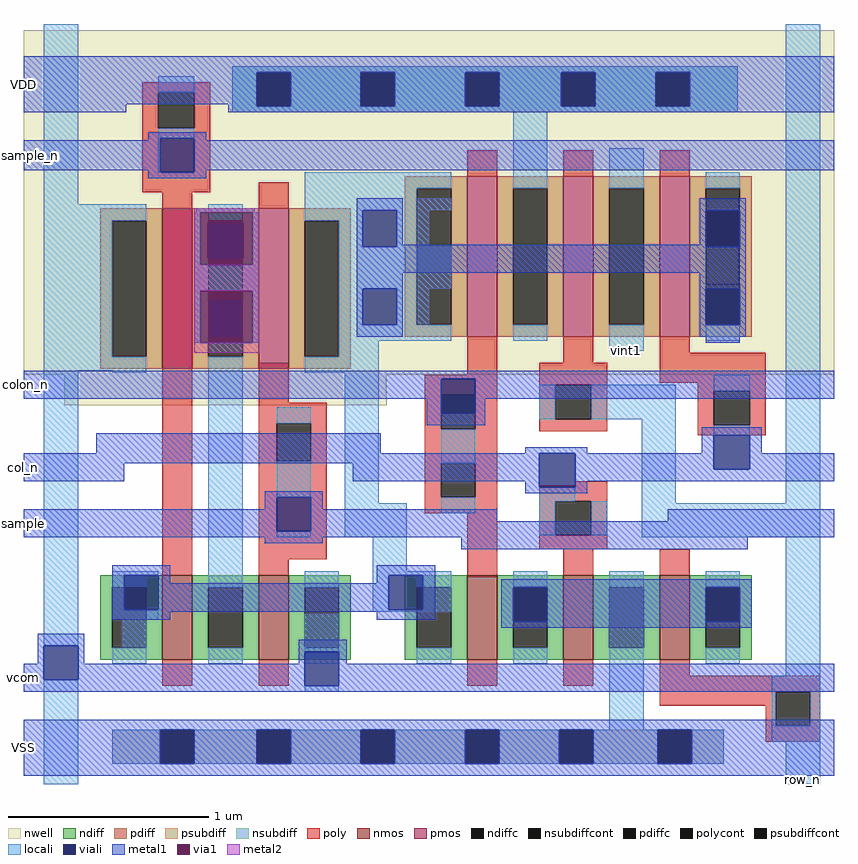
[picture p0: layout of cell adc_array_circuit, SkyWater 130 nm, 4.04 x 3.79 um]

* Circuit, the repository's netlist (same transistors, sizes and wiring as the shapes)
* NGSPICE file created from adc_array_circuit.ext - technology: sky130A

.subckt sky130_fd_pr__nfet_01v8_J7MSU8 a_n111_n68# a_n81_n42# a_15_n42# a_n15_n68#
+ a_n173_n42# a_81_n68# a_111_n42# VSUBS
X0 a_15_n42# a_n15_n68# a_n81_n42# VSUBS sky130_fd_pr__nfet_01v8 ad=1.386e+11p pd=1.5e+06u as=1.386e+11p ps=1.5e+06u w=420000u l=150000u
X1 a_111_n42# a_81_n68# a_15_n42# VSUBS sky130_fd_pr__nfet_01v8 ad=1.302e+11p pd=1.46e+06u as=0p ps=0u w=420000u l=150000u
X2 a_n81_n42# a_n111_n68# a_n173_n42# VSUBS sky130_fd_pr__nfet_01v8 ad=0p pd=0u as=1.302e+11p ps=1.46e+06u w=420000u l=150000u
.ends

.subckt sky130_fd_pr__nfet_01v8_MJPTSJ a_63_n42# a_n125_n42# a_n63_n68# a_33_n68#
+ a_n33_n42# VSUBS
X0 a_63_n42# a_33_n68# a_n33_n42# VSUBS sky130_fd_pr__nfet_01v8 ad=1.302e+11p pd=1.46e+06u as=1.386e+11p ps=1.5e+06u w=420000u l=150000u
X1 a_n33_n42# a_n63_n68# a_n125_n42# VSUBS sky130_fd_pr__nfet_01v8 ad=0p pd=0u as=1.302e+11p ps=1.46e+06u w=420000u l=150000u
.ends

.subckt sky130_fd_pr__pfet_01v8_5CE3MA a_111_n80# a_81_n106# a_n15_n106# a_n111_n106#
+ a_n81_n80# a_15_n80# w_n209_n116# a_n173_n80#
X0 a_n81_n80# a_n111_n106# a_n173_n80# w_n209_n116# sky130_fd_pr__pfet_01v8 ad=2.64e+11p pd=2.26e+06u as=2.48e+11p ps=2.22e+06u w=800000u l=150000u
X1 a_111_n80# a_81_n106# a_15_n80# w_n209_n116# sky130_fd_pr__pfet_01v8 ad=2.48e+11p pd=2.22e+06u as=2.64e+11p ps=2.26e+06u w=800000u l=150000u
X2 a_15_n80# a_n15_n106# a_n81_n80# w_n209_n116# sky130_fd_pr__pfet_01v8 ad=0p pd=0u as=0p ps=0u w=800000u l=150000u
.ends

.subckt sky130_fd_pr__pfet_01v8_5CSGFE w_n161_n116# a_33_n106# a_63_n80# a_n125_n80#
+ a_n63_n106# a_n33_n80#
X0 a_n33_n80# a_n63_n106# a_n125_n80# w_n161_n116# sky130_fd_pr__pfet_01v8 ad=2.64e+11p pd=2.26e+06u as=2.48e+11p ps=2.22e+06u w=800000u l=150000u
X1 a_63_n80# a_33_n106# a_n33_n80# w_n161_n116# sky130_fd_pr__pfet_01v8 ad=2.48e+11p pd=2.22e+06u as=0p ps=0u w=800000u l=150000u
.ends

.subckt adc_array_circuit
Xsky130_fd_pr__nfet_01v8_J7MSU8_0 colon_n li_722_732# VSS col_n li_322_734# row_n
+ li_722_732# VSS sky130_fd_pr__nfet_01v8_J7MSU8
Xsky130_fd_pr__nfet_01v8_MJPTSJ_0 vcom li_322_734# sample_n sample li_418_782# VSS
+ sky130_fd_pr__nfet_01v8_MJPTSJ
Xsky130_fd_pr__pfet_01v8_5CE3MA_0 li_322_734# col_n row_n colon_n VDD vint1 VDD li_322_734#
+ sky130_fd_pr__pfet_01v8_5CE3MA
Xsky130_fd_pr__pfet_01v8_5CSGFE_0 VDD sample li_322_734# vcom sample_n li_418_782#
+ sky130_fd_pr__pfet_01v8_5CSGFE
.ends

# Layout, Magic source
magic
tech sky130A
magscale 1 2
<< nwell >>
rect 234 1182 1042 1322
rect 234 1152 742 1182
rect 818 1174 852 1182
rect 234 1144 404 1152
rect 464 1144 742 1152
rect 234 1130 742 1144
rect 234 1094 418 1130
rect 452 1094 742 1130
rect 234 984 742 1094
rect 908 1068 954 1154
rect 964 984 1042 1182
rect 234 978 1042 984
rect 468 950 532 978
<< pdiff >>
rect 406 1130 464 1144
rect 406 1094 418 1130
rect 452 1094 464 1130
rect 406 1010 464 1094
rect 908 1068 954 1154
<< psubdiff >>
rect 322 590 370 624
rect 404 590 466 624
rect 500 590 570 624
rect 604 590 674 624
rect 708 590 768 624
rect 802 590 866 624
rect 900 590 932 624
<< nsubdiff >>
rect 442 1280 946 1286
rect 442 1246 466 1280
rect 500 1246 570 1280
rect 604 1246 674 1280
rect 708 1246 770 1280
rect 804 1246 864 1280
rect 898 1246 946 1280
rect 442 1240 946 1246
<< psubdiffcont >>
rect 370 590 404 624
rect 466 590 500 624
rect 570 590 604 624
rect 674 590 708 624
rect 768 590 802 624
rect 866 590 900 624
<< nsubdiffcont >>
rect 466 1246 500 1280
rect 570 1246 604 1280
rect 674 1246 708 1280
rect 770 1246 804 1280
rect 864 1246 898 1280
<< poly >>
rect 352 1260 420 1270
rect 352 1224 368 1260
rect 404 1224 420 1260
rect 352 1160 420 1224
rect 372 804 402 1160
rect 868 1000 898 1004
rect 468 950 498 990
rect 676 978 706 998
rect 634 958 706 978
rect 468 930 536 950
rect 468 892 486 930
rect 520 892 536 930
rect 468 794 536 892
rect 634 924 650 958
rect 684 924 706 958
rect 634 890 706 924
rect 748 968 816 990
rect 868 970 974 1000
rect 748 934 764 968
rect 800 934 816 968
rect 748 922 816 934
rect 906 962 974 970
rect 906 928 922 962
rect 958 928 974 962
rect 906 918 974 928
rect 634 856 650 890
rect 684 856 706 890
rect 784 868 816 872
rect 634 840 706 856
rect 676 776 706 840
rect 748 852 816 868
rect 748 818 764 852
rect 800 818 816 852
rect 748 804 816 818
rect 868 662 1028 678
rect 868 648 984 662
rect 974 628 984 648
rect 1018 628 1028 662
rect 974 612 1028 628
<< polycont >>
rect 368 1224 404 1260
rect 486 892 520 930
rect 650 924 684 958
rect 764 934 800 968
rect 922 928 958 962
rect 650 856 684 890
rect 764 818 800 852
rect 984 628 1018 662
<< locali >>
rect 254 1148 288 1328
rect 442 1280 946 1286
rect 368 1260 404 1276
rect 442 1246 466 1280
rect 500 1246 570 1280
rect 604 1246 674 1280
rect 708 1246 770 1280
rect 804 1246 864 1280
rect 898 1246 946 1280
rect 442 1240 946 1246
rect 368 1214 404 1224
rect 368 1180 370 1214
rect 514 1154 626 1180
rect 722 1164 756 1240
rect 818 1174 852 1204
rect 514 1148 660 1154
rect 254 982 322 1148
rect 548 1142 660 1148
rect 548 1106 572 1142
rect 606 1106 638 1142
rect 548 1064 660 1106
rect 548 1028 572 1064
rect 606 1028 638 1064
rect 548 1012 660 1028
rect 254 708 288 982
rect 418 782 452 994
rect 548 980 588 1012
rect 818 1002 852 1026
rect 486 930 520 946
rect 486 856 520 892
rect 486 816 520 822
rect 554 850 588 980
rect 748 934 764 968
rect 800 934 884 968
rect 650 890 684 924
rect 554 816 616 850
rect 650 840 684 856
rect 748 852 784 866
rect 748 818 764 852
rect 800 818 816 852
rect 850 850 884 934
rect 922 962 958 978
rect 922 918 958 928
rect 994 850 1028 1328
rect 850 816 1028 850
rect 582 782 616 816
rect 322 778 368 782
rect 322 744 334 778
rect 322 734 368 744
rect 582 778 660 782
rect 582 744 598 778
rect 632 744 660 778
rect 582 742 660 744
rect 722 766 756 782
rect 332 690 356 734
rect 514 702 548 740
rect 254 570 288 674
rect 514 662 548 668
rect 818 624 852 782
rect 914 766 948 782
rect 994 678 1028 816
rect 980 662 1028 678
rect 980 628 984 662
rect 1018 628 1028 662
rect 322 590 370 624
rect 404 590 466 624
rect 500 590 570 624
rect 604 590 674 624
rect 708 590 768 624
rect 802 590 866 624
rect 900 590 932 624
rect 980 612 1028 628
rect 994 570 1028 612
<< viali >>
rect 466 1246 500 1280
rect 570 1246 604 1280
rect 674 1246 708 1280
rect 770 1246 804 1280
rect 864 1246 898 1280
rect 370 1180 404 1214
rect 418 1094 452 1130
rect 572 1106 606 1142
rect 914 1106 948 1142
rect 418 1016 452 1052
rect 572 1028 606 1064
rect 914 1028 948 1064
rect 486 822 520 856
rect 650 958 684 974
rect 650 940 684 958
rect 748 866 784 900
rect 922 884 958 918
rect 334 744 368 778
rect 598 744 632 778
rect 254 674 288 708
rect 722 732 756 766
rect 514 668 548 702
rect 914 732 948 766
rect 370 590 404 624
rect 466 590 500 624
rect 570 590 604 624
rect 674 590 708 624
rect 768 590 802 624
rect 866 590 900 624
<< metal1 >>
rect 234 1280 1042 1296
rect 234 1248 466 1280
rect 234 1240 336 1248
rect 438 1246 466 1248
rect 500 1246 570 1280
rect 604 1246 674 1280
rect 708 1246 770 1280
rect 804 1246 864 1280
rect 898 1246 1042 1280
rect 438 1240 1042 1246
rect 358 1214 416 1220
rect 358 1212 370 1214
rect 234 1182 370 1212
rect 358 1180 370 1182
rect 404 1212 416 1214
rect 404 1182 1042 1212
rect 404 1180 416 1182
rect 358 1174 416 1180
rect 406 1140 464 1144
rect 566 1142 612 1154
rect 404 1088 410 1140
rect 462 1088 468 1140
rect 404 1062 468 1088
rect 404 1010 410 1062
rect 462 1010 468 1062
rect 566 1106 572 1142
rect 606 1108 612 1142
rect 908 1142 954 1154
rect 908 1108 914 1142
rect 606 1106 914 1108
rect 948 1106 954 1142
rect 566 1080 954 1106
rect 566 1064 612 1080
rect 566 1028 572 1064
rect 606 1028 612 1064
rect 566 1016 612 1028
rect 908 1064 954 1080
rect 908 1028 914 1064
rect 948 1028 954 1064
rect 908 1016 954 1028
rect 914 1010 948 1016
rect 234 974 1042 982
rect 234 954 650 974
rect 636 940 650 954
rect 684 954 1042 974
rect 684 940 694 954
rect 636 928 694 940
rect 306 900 590 920
rect 910 918 970 926
rect 734 900 796 906
rect 910 900 922 918
rect 234 890 748 900
rect 234 872 334 890
rect 562 872 748 890
rect 734 866 748 872
rect 784 884 922 900
rect 958 900 970 918
rect 958 884 1042 900
rect 784 872 1042 884
rect 784 866 796 872
rect 474 856 532 862
rect 734 860 796 866
rect 474 844 486 856
rect 234 822 486 844
rect 520 844 532 856
rect 520 832 706 844
rect 876 832 1042 844
rect 520 822 1042 832
rect 234 816 1042 822
rect 474 810 532 816
rect 670 804 956 816
rect 322 778 380 788
rect 322 744 334 778
rect 368 770 380 778
rect 586 778 644 788
rect 586 770 598 778
rect 368 744 598 770
rect 632 744 644 778
rect 322 742 644 744
rect 322 734 380 742
rect 586 734 644 742
rect 710 766 960 774
rect 710 732 722 766
rect 756 732 914 766
rect 948 732 960 766
rect 710 726 960 732
rect 248 708 294 720
rect 248 690 254 708
rect 234 674 254 690
rect 288 690 294 708
rect 508 702 556 714
rect 508 690 514 702
rect 288 674 514 690
rect 234 668 514 674
rect 548 690 556 702
rect 548 668 1042 690
rect 234 662 1042 668
rect 234 624 1042 634
rect 234 590 370 624
rect 404 590 466 624
rect 500 590 570 624
rect 604 590 674 624
rect 708 590 768 624
rect 802 590 866 624
rect 900 590 1042 624
rect 234 578 1042 590
<< via1 >>
rect 410 1130 462 1140
rect 410 1094 418 1130
rect 418 1094 452 1130
rect 452 1094 462 1130
rect 410 1088 462 1094
rect 410 1052 462 1062
rect 410 1016 418 1052
rect 418 1016 452 1052
rect 452 1016 462 1052
rect 410 1010 462 1016
<< metal2 >>
rect 404 1140 468 1144
rect 404 1088 410 1140
rect 462 1088 468 1140
rect 404 1062 468 1088
rect 404 1010 410 1062
rect 462 1010 468 1062
rect 404 1000 468 1010
use sky130_fd_pr__nfet_01v8_J7MSU8  sky130_fd_pr__nfet_01v8_J7MSU8_0
transform 1 0 787 0 1 736
box -173 -68 173 68
use sky130_fd_pr__nfet_01v8_MJPTSJ  sky130_fd_pr__nfet_01v8_MJPTSJ_0
transform 1 0 435 0 1 736
box -125 -68 125 68
use sky130_fd_pr__pfet_01v8_5CE3MA  sky130_fd_pr__pfet_01v8_5CE3MA_0
transform 1 0 787 0 1 1096
box -209 -116 209 116
use sky130_fd_pr__pfet_01v8_5CSGFE  sky130_fd_pr__pfet_01v8_5CSGFE_0
transform 1 0 435 0 1 1064
box -161 -116 161 116
<< labels >>
rlabel metal1 234 872 234 900 7 col_n
rlabel metal1 234 954 234 982 7 colon_n
rlabel metal1 234 662 234 690 7 vcom
rlabel metal1 234 1182 234 1212 7 sample_n
rlabel metal1 234 816 234 844 7 sample
rlabel metal1 234 578 234 634 7 VSS
rlabel metal1 234 1240 234 1296 7 VDD
rlabel locali 818 1002 852 1002 5 vint1
rlabel locali 994 574 1028 574 5 row_n
<< end >>

# cell sky130_fd_pr__nfet_01v8_J7MSU8: kit device sky130_fd_pr__nfet_01v8, w 0.420 l 0.150 m 1 nf 3 diffcov 100 polycov 100 guard 0 glc 0 grc 0 gtc 0 gbc 0 tbcov 100 rlcov 100 topc 0 botc 0 poverlap 0 doverlap 1 lmin 0.15 wmin 0.42 compatible {sky130_fd_pr__nfet_01v8 sky130_fd_pr__nfet_01v8_lvt sky130_fd_bs_flash__special_sonosfet_star sky130_fd_pr__nfet_g5v0d10v5 sky130_fd_pr__nfet_05v0_nvt sky130_fd_pr__nfet_03v3_nvt} full_metal 0 viasrc 100 viadrn 100 viagate 100 viagb 0 viagr 0 viagl 0 viagt 0

# cell sky130_fd_pr__nfet_01v8_MJPTSJ: kit device sky130_fd_pr__nfet_01v8, w 0.42 l 0.150 m 1 nf 2 diffcov 100 polycov 100 guard 0 glc 0 grc 0 gtc 0 gbc 0 tbcov 100 rlcov 100 topc 0 botc 0 poverlap 0 doverlap 1 lmin 0.15 wmin 0.42 compatible {sky130_fd_pr__nfet_01v8 sky130_fd_pr__nfet_01v8_lvt sky130_fd_bs_flash__special_sonosfet_star sky130_fd_pr__nfet_g5v0d10v5 sky130_fd_pr__nfet_05v0_nvt sky130_fd_pr__nfet_03v3_nvt} full_metal 0 viasrc 100 viadrn 100 viagate 100 viagb 0 viagr 0 viagl 0 viagt 0

# cell sky130_fd_pr__pfet_01v8_5CE3MA: kit device sky130_fd_pr__pfet_01v8, w 0.8 l 0.15 m 1 nf 3 diffcov 100 polycov 100 guard 0 glc 0 grc 0 gtc 0 gbc 0 tbcov 100 rlcov 100 topc 0 botc 0 poverlap 0 doverlap 1 lmin 0.15 wmin 0.42 compatible {sky130_fd_pr__pfet_01v8 sky130_fd_pr__pfet_01v8_lvt sky130_fd_pr__pfet_01v8_hvt sky130_fd_pr__pfet_g5v0d10v5} full_metal 0 viasrc 100 viadrn 100 viagate 100 viagb 0 viagr 0 viagl 0 viagt 0

# cell sky130_fd_pr__pfet_01v8_5CSGFE: kit device sky130_fd_pr__pfet_01v8, w 0.8 l 0.15 m 1 nf 2 diffcov 100 polycov 100 guard 0 glc 0 grc 0 gtc 0 gbc 0 tbcov 100 rlcov 100 topc 0 botc 0 poverlap 0 doverlap 1 lmin 0.15 wmin 0.42 compatible {sky130_fd_pr__pfet_01v8 sky130_fd_pr__pfet_01v8_lvt sky130_fd_pr__pfet_01v8_hvt sky130_fd_pr__pfet_g5v0d10v5} full_metal 0 viasrc 100 viadrn 100 viagate 100 viagb 0 viagr 0 viagl 0 viagt 0
